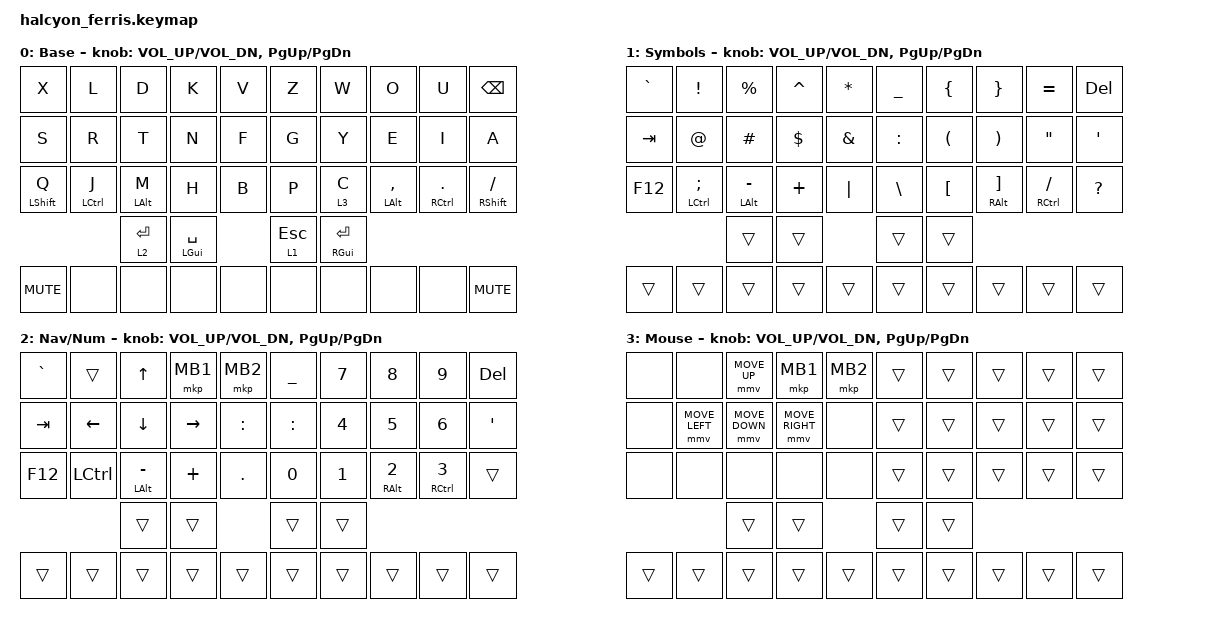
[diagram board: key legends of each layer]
/*
 * Copyright (c) 2022 The ZMK Contributors
 * Copyright (c) 2026 Splitkb.com
 *
 * SPDX-License-Identifier: MIT
 */

#include <behaviors.dtsi>
#include <dt-bindings/zmk/bt.h>
#include <dt-bindings/zmk/keys.h>
#include <dt-bindings/zmk/pointing.h>

// Ported from the QMK/Vial keymap (sertainly.vil.json).
// Relevant Vial "settings" entries (QSIDs per vial-gui qmk_settings.json):
//   7          Tapping Term             = 200 ms
//              (QSID 4 = 175 is the Auto Shift timeout; Auto Shift (QSID 3) is off)
//   8, bit 1   Ignore Mod Tap Interrupt = on   (value 2)
//   8, bit 2   Tapping Force Hold       = off
//
// With "Ignore Mod Tap Interrupt" QMK decides tap vs. hold purely by the tapping
// term; pressing another key while the mod-tap is held does not force a hold.
// ZMK's &mt defaults to flavor "hold-preferred", which resolves to hold as soon
// as any other key is pressed, so a fast roll like M then another letter sent
// Alt+<letter>. "tap-preferred" is the ZMK equivalent of the QMK behaviour.
// quick-tap-ms reproduces QMK's tap-then-hold key repeat (Tapping Force Hold off).
&mt {
    flavor = "tap-preferred";
    tapping-term-ms = <200>;
    quick-tap-ms = <200>;
};

// &lt already defaults to "tap-preferred"; only align the timing.
&lt {
    tapping-term-ms = <200>;
    quick-tap-ms = <200>;
};

/ {
    keymap {
        compatible = "zmk,keymap";

        default_layer {
            display-name = "Base";
// -----------------------------------------------------------------------------------------
// |  X  |  L  |  D  |  K  |  V  |   |  Z  |  W  |  O  |  U  | BSPC |
// |  S  |  R  |  T  |  N  |  F  |   |  G  |  Y  |  E  |  I  |  A   |
// | S/Q | C/J | A/M |  H  |  B  |   |  P  |L3/C | A/, | C/. | S//  |
//                   |L2/RET|G/SPC|   |L1/ESC|G/RET|
            bindings = <
&kp X       &kp L       &kp D      &kp K &kp V   &kp Z &kp W   &kp O          &kp U         &kp BSPC
&kp S       &kp R       &kp T      &kp N &kp F   &kp G &kp Y   &kp E          &kp I         &kp A
&mt LSHFT Q &mt LCTRL J &mt LALT M &kp H &kp B   &kp P &lt 3 C &mt LALT COMMA &mt RCTRL DOT &mt RSHFT FSLH
                    &lt 2 ENTER &mt LGUI SPACE   &lt 1 ESC &mt RGUI ENTER

// Halcyon module row: only the outer position of each side is a real button
// (the encoder push), it had KC_MUTE in Vial. No module is in build.yaml yet.
&kp C_MUTE &none &none &none &none                &none &none &none &none &kp C_MUTE
            >;
            sensor-bindings = <&inc_dec_kp C_VOL_UP C_VOL_DN &inc_dec_kp PG_UP PG_DN>;
        };

        symbols {
            display-name = "Symbols";
// -----------------------------------------------------------------------------------------
// |  `  |  !  |  %  |  ^  |  *  |   |  _  |  {  |  }  |  =  | DEL |
// | TAB |  @  |  #  |  $  |  &  |   |  :  |  (  |  )  |  "  |  '  |
// | F12 | C/; | A/- |  +  | "|" |   |  \  |  [  | A/] | C// |  ?  |
//                   |     |     |   |     |     |
            bindings = <
&kp GRAVE &kp EXCL       &kp PERCENT    &kp CARET  &kp ASTERISK   &kp UNDER &kp LBRC &kp RBRC      &kp EQUAL      &kp DEL
&kp TAB   &kp AT         &kp HASH       &kp DOLLAR &kp AMPS       &kp COLON &kp LPAR &kp RPAR      &kp DQT        &kp SQT
&kp F12   &mt LCTRL SEMI &mt LALT MINUS &kp PLUS   &kp PIPE       &kp BSLH  &kp LBKT &mt RALT RBKT &mt RCTRL FSLH &kp QMARK
                                        &trans &trans            &trans &trans

&trans &trans &trans &trans &trans                                &trans &trans &trans &trans &trans
            >;
            sensor-bindings = <&inc_dec_kp C_VOL_UP C_VOL_DN &inc_dec_kp PG_UP PG_DN>;
        };

        nav_num {
            display-name = "Nav/Num";
// -----------------------------------------------------------------------------------------
// |  `  |     | UP  | MB1 | MB2 |   |  _  |  7  |  8  |  9  | DEL |
// | TAB |LEFT |DOWN |RIGHT|  :  |   |  :  |  4  |  5  |  6  |  '  |
// | F12 |CTRL | A/- |  +  |  .  |   |  0  |  1  | A/2 | C/3 |     |
//                   |     |     |   |     |     |
            bindings = <
&kp GRAVE &trans    &kp UP         &mkp MB1  &mkp MB2   &kp UNDER &kp N7 &kp N8      &kp N9       &kp DEL
&kp TAB   &kp LEFT  &kp DOWN       &kp RIGHT &kp COLON  &kp COLON &kp N4 &kp N5      &kp N6       &kp SQT
&kp F12   &kp LCTRL &mt LALT MINUS &kp PLUS  &kp DOT    &kp N0    &kp N1 &mt RALT N2 &mt RCTRL N3 &trans
                                   &trans &trans       &trans &trans

&trans &trans &trans &trans &trans                      &trans &trans &trans &trans &trans
            >;
            sensor-bindings = <&inc_dec_kp C_VOL_UP C_VOL_DN &inc_dec_kp PG_UP PG_DN>;
        };

        mouse {
            display-name = "Mouse";
// -----------------------------------------------------------------------------------------
// |     |     | MS_U| MB1 | MB2 |   |     |     |     |     |     |
// |     | MS_L| MS_D| MS_R|     |   |     |     |     |     |     |
// |     |     |     |     |     |   |     |     |     |     |     |
//                   |     |     |   |     |     |
            bindings = <
&none &none          &mmv MOVE_UP   &mkp MB1        &mkp MB2   &trans &trans &trans &trans &trans
&none &mmv MOVE_LEFT &mmv MOVE_DOWN &mmv MOVE_RIGHT &none      &trans &trans &trans &trans &trans
&none &none          &none          &none           &none      &trans &trans &trans &trans &trans
                                    &trans &trans   &trans &trans

&trans &trans &trans &trans &trans                  &trans &trans &trans &trans &trans
            >;
            sensor-bindings = <&inc_dec_kp C_VOL_UP C_VOL_DN &inc_dec_kp PG_UP PG_DN>;
        };
    };
};
